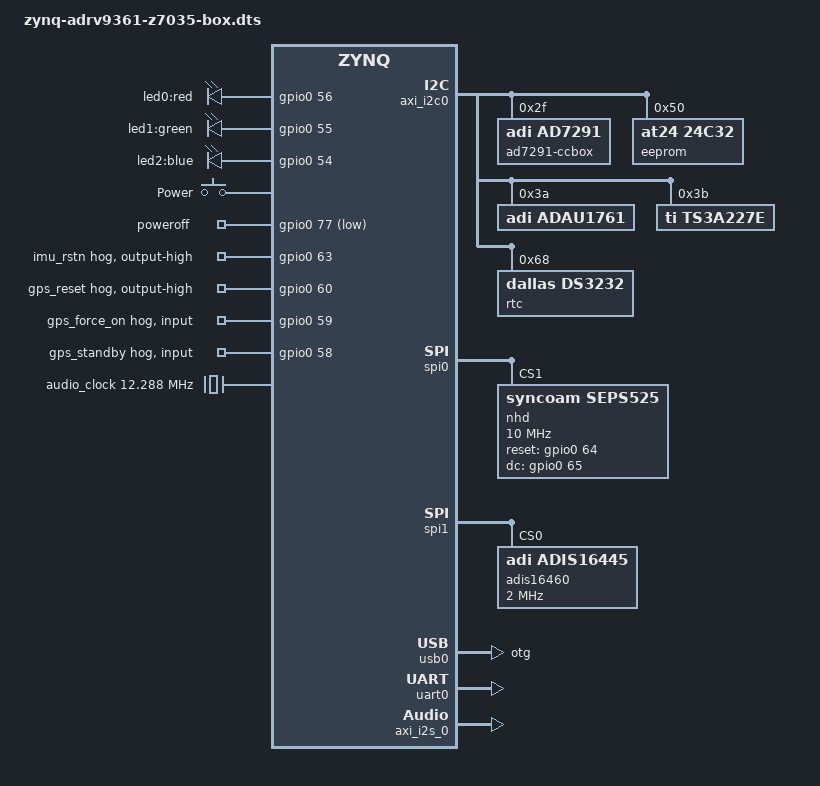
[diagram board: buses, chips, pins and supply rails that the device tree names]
/dts-v1/;
/include/ "zynq-adrv9361-z7035.dtsi"
#include <dt-bindings/input/input.h>
#include <dt-bindings/gpio/gpio.h>
#include <dt-bindings/interrupt-controller/irq.h>

&adm1166 {
	reg = <0x6A>;
};

&axi_i2c0 {
	ad7291-ccbox@2f {
		compatible = "adi,ad7291";
		reg = <0x2f>;
	};

	eeprom@50 {
		compatible = "at24,24c32";
		reg = <0x50>;
	};

	adau1761: adau1761@3a {
		compatible = "adi,adau1761";
		reg = <0x3a>;

		clocks = <&audio_clock>;
		clock-names = "mclk";

		#sound-dai-cells = <0>;
	};

	ts3a227e@3b {
		compatible = "ti,ts3a227e";
		reg = <0x3b>;
		interrupt-parent = <&gpio0>;
		//interrupts = <75 IRQ_TYPE_LEVEL_LOW>;
	};

	rtc@68 {
		compatible = "dallas,ds3232";
		reg = <0x68>;
	};
};

/ {
	leds {
		compatible = "gpio-leds";
		led0 {
			label = "led0:red";
			gpios = <&gpio0 56 0>;
			linux,default-trigger = "heartbeat";
			};

		led1 {
			label = "led1:green";
			gpios = <&gpio0 55 0>;
			linux,default-trigger = "heartbeat";
		};

		led2 {
			label = "led2:blue";
			gpios = <&gpio0 54 0>;
			linux,default-trigger = "heartbeat";
		};
	};

	gpio-keys {
		#address-cells = <1>;
		#size-cells = <0>;
		compatible = "gpio-keys";

		power {
			interrupt-parent = <&gpio0>;
			interrupts = <76 IRQ_TYPE_EDGE_FALLING>;

			label = "Power";
			//gpios = <&gpio0 76 GPIO_ACTIVE_LOW>;

			linux,code = <KEY_POWER>;
			gpio-key,wakeup;
		};
	};

	poweroff {
		compatible = "gpio-poweroff";
		gpios = <&gpio0 77 GPIO_ACTIVE_LOW>;
	};
};

&gpio0 {
	imu_rstn {
		gpio-hog;
		gpios = <63 0>;
		output-high;
		line-name = "imu_rstn";
	};

	gps_reset0 {
		gpio-hog;
		gpios = <60 0>;
		output-high;
		line-name = "gps_reset";
	};

	gps_force_on {
		gpio-hog;
		gpios = <59 0>;
		input;
		line-name = "gps_force_on";
	};

	gps_standby {
		gpio-hog;
		gpios = <58 0>;
		input;
		line-name = "gps_standby";
	};
};

 /* Display:
  * NHD-1.69-160128UGC3 (Newhaven Display International, Inc.)
  */

&spi0 {
	status = "okay";

	nhd@0{
		compatible = "syncoam,seps525";
		reg = <1>;
		status = "ok";

		spi-max-frequency = <10000000>;
		spi-cpol;
		spi-cpha;
		rotate = <0>;
		fps = <50>;
		buswidth = <8>;
		txbuflen = <64000>;
		reset-gpios = <&gpio0 64 0>;
		dc-gpios = <&gpio0 65 0>;
		debug = <0>;
	};
};

&spi1 {
	status = "okay";
	num-cs = <4>;
	is-decoded-cs = <0>;

	adis16460@0{
		compatible = "adi,adis16445";
		reg = <0>;
		status = "ok";

		spi-max-frequency = <2000000>;
		spi-cpol;
		spi-cpha;
	};
};

&usb0 {
	status = "okay";
	dr_mode = "otg";
};

&uart0 {
	status = "okay";
};

&aliases {
	serial1 = &uart0;
};

&fpga_axi {
		audio_clock: audio_clock {
			compatible = "fixed-clock";
			#clock-cells = <0>;
			clock-frequency = <12288000>;
		};

		axi_i2s_0: axi-i2s@0x77600000 {
			compatible = "adi,axi-i2s-1.00.a";
			reg = <0x77600000 0x1000>;
			dmas = <&dmac_s 0 &dmac_s 1>;
			dma-names = "tx", "rx";
			clocks = <&clkc 15>, <&audio_clock>;
			clock-names = "axi", "ref";

			#sound-dai-cells = <0>;
		};

		pzsdr_sound {
			compatible = "simple-audio-card";
			simple-audio-card,name = "ADRV9361-Z7035 ADAU1761";
			simple-audio-card,widgets =
				"Microphone", "Mic In",
				"Headphone", "Headphone Out";
			simple-audio-card,routing =
				"Headphone Out", "LHP",
				"Headphone Out", "RHP",
				"Mic In", "MICBIAS",
				"LINN", "Mic In";
			simple-audio-card,dai-link@0 {
				format = "i2s";
				cpu {
					sound-dai = <&axi_i2s_0>;
					frame-master;
					bitclock-master;
				};
				codec {
					sound-dai = <&adau1761>;
				};
			};
		};
};
/*

input	imu_ready	PS_INTR_0
output	imu_rstn	9	63
inout	imu_sync	8	62

output	oled_rst	10	64
output	oled_dc		11	65

output	switch_led_r	2	56
output	switch_led_g	1	55
output	switch_led_b	0	54

output	gps_reset	6	60
output	gps_force_on	5	59
output	gps_standby	4	58
input	gps_pps		7	61

input	pss_valid_n_0	12	66
input	pss_valid_n_1	13	67
input	pss_valid_n_2	14	68
inout	adp5061_io_0	16	70
inout	adp5061_io_1	17	71
inout	adp5061_io_2	18	72

inout	ltc2955_kill_n	23	77
inout	ltc2955_int_n	22	76
inout	mic_present_n	20	74
inout	ts3a227_int_n	21	75

output	enable		47	101
output	txnrx		48	102

inout	gpio_rf0	56	110
inout	gpio_rf1	55	109
inout	gpio_rf2	54	108
inout	gpio_rf3	53	107
inout	gpio_rf4	61	115
inout	gpio_rfpwr_enable 52	106
inout	gpio_clksel	51	105
inout	gpio_resetb	46	100
inout	gpio_sync	45	99
inout	gpio_en_agc	44	98
inout	gpio_ctl	40..43	94..97
inout	gpio_status	32..39	86..93

*/

